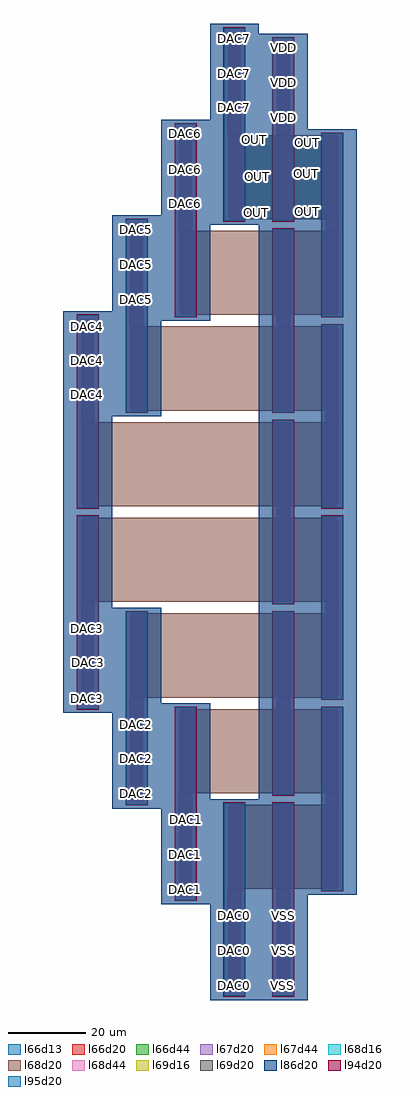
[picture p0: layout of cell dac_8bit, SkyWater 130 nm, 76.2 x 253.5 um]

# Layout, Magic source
magic
tech sky130a
<< l68d20 >>
rect 3970 2796 6760 4979
rect 2700 5281 6760 7464
rect 1430 7766 6760 9949
rect 160 10251 6760 12434
rect 160 12736 6760 14919
rect 1430 15221 6760 17404
rect 2700 17706 6760 19889
rect 3970 20191 6760 22374
rect 160 15471 410 17575
rect 5205 135 5525 2255
rect 5205 22670 5525 24790
<< l68d16 >>
rect 3970 140 4220 2244
rect 2700 2625 2950 4729
rect 1430 5110 1680 7214
rect 160 7595 410 9699
rect 160 15471 410 17575
rect 1430 17956 1680 20060
rect 2700 20441 2950 22545
rect 3970 22926 4220 25030
rect 3970 20191 6760 22374
<< l68d44 >>
rect 5290 1660 5440 1810
rect 5290 1300 5440 1450
rect 5290 940 5440 1090
rect 5290 580 5440 730
rect 5290 220 5440 370
rect 5290 24195 5440 24345
rect 5290 23835 5440 23985
rect 5290 23475 5440 23625
rect 5290 23115 5440 23265
rect 5290 22755 5440 22905
rect 5290 2021 5440 2171
rect 5290 24555 5440 24705
<< l69d20 >>
rect 5205 135 5525 2256
rect 5205 22670 5525 24790
<< l69d16 >>
rect 5205 135 5525 2256
rect 5205 22670 5525 24790
<< labels >>
rlabel l68d5 4667 20363 4667 20363 0 OUT
rlabel l68d5 4686 21303 4686 21303 0 OUT
rlabel l68d5 4617 22248 4617 22248 0 OUT
rlabel l68d5 1543 18113 1543 18113 0 DAC5
rlabel l68d5 1556 19023 1556 19023 0 DAC5
rlabel l68d5 1543 19921 1543 19921 0 DAC5
rlabel l68d5 2823 20590 2823 20590 0 DAC6
rlabel l68d5 4088 24886 4088 24886 0 DAC7
rlabel l68d5 2815 22406 2815 22406 0 DAC6
rlabel l68d5 2827 21484 2827 21484 0 DAC6
rlabel l68d5 4088 23079 4088 23079 0 DAC7
rlabel l68d5 4085 23984 4085 23984 0 DAC7
rlabel l68d5 5984 22193 5984 22193 0 OUT
rlabel l68d5 5979 21367 5979 21367 0 OUT
rlabel l68d5 5984 20400 5984 20400 0 OUT
rlabel l68d5 284 17415 284 17415 0 DAC4
rlabel l68d5 276 16522 276 16522 0 DAC4
rlabel l68d5 276 15624 276 15624 0 DAC4
rlabel l68d5 288 9569 288 9569 0 DAC3
rlabel l68d5 293 8679 293 8679 0 DAC3
rlabel l68d5 280 7753 280 7753 0 DAC3
rlabel l68d5 1561 6190 1561 6190 0 DAC2
rlabel l68d5 1547 7056 1547 7056 0 DAC2
rlabel l68d5 1561 5274 1561 5274 0 DAC2
rlabel l68d5 2824 3692 2824 3692 0 DAC1
rlabel l68d5 2841 4597 2841 4597 0 DAC1
rlabel l68d5 2830 2782 2830 2782 0 DAC1
rlabel l68d5 4107 1204 4107 1204 0 DAC0
rlabel l68d5 4092 2096 4092 2096 0 DAC0
rlabel l68d5 4092 298 4092 298 0 DAC0
rlabel l69d5 5360 24650 5360 24650 0 VDD
rlabel l69d5 5360 23746 5360 23746 0 VDD
rlabel l69d5 5360 22827 5360 22827 0 VDD
rlabel l69d5 5369 1194 5369 1194 0 VSS
rlabel l69d5 5351 289 5351 289 0 VSS
rlabel l69d5 5359 2092 5359 2092 0 VSS
use res_polyx243 res_polyx243_1
transform 1 0 285 0 1 15195
box -635 -2610 635 2610
use res_polyx243 res_polyx243_2
transform 1 0 1555 0 1 7490
box -635 -2610 635 2610
use res_polyx244 res_polyx244_1
transform 1 0 5365 0 1 12585
box -635 -2485 635 2485
use res_polyx243 res_polyx243_3
transform 1 0 1555 0 1 17680
box -635 -2610 635 2610
use res_polyx243 res_polyx243_4
transform 1 0 285 0 1 9975
box -635 -2610 635 2610
use res_polyx243 res_polyx243_5
transform 1 0 5365 0 1 2520
box -635 -2610 635 2610
use res_polyx244 res_polyx244_2
transform 1 0 5365 0 1 7615
box -635 -2485 635 2485
use res_polyx244 res_polyx244_3
transform 1 0 6635 0 1 5130
box -635 -2485 635 2485
use res_polyx244 res_polyx244_4
transform 1 0 6635 0 1 15070
box -635 -2485 635 2485
use res_polyx243 res_polyx243_6
transform 1 0 4095 0 1 22650
box -635 -2610 635 2610
use res_polyx244 res_polyx244_5
transform 1 0 6635 0 1 20040
box -635 -2485 635 2485
use res_polyx243 res_polyx243_7
transform 1 0 2825 0 1 20165
box -635 -2610 635 2610
use res_polyx244 res_polyx244_6
transform 1 0 5365 0 1 17555
box -635 -2485 635 2485
use res_polyx244 res_polyx244_7
transform 1 0 5365 0 1 22525
box -635 -2485 635 2485
use res_polyx243 res_polyx243_8
transform 1 0 4095 0 1 2520
box -635 -2610 635 2610
use res_polyx243 res_polyx243_9
transform 1 0 2825 0 1 5005
box -635 -2610 635 2610
use res_polyx244 res_polyx244_8
transform 1 0 6635 0 1 10100
box -635 -2485 635 2485
<< end >>

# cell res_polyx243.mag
magic
tech sky130a
<< l66d20 >>
rect -175 -2410 175 2410
<< l94d20 >>
rect -285 -2520 285 2520
<< l86d20 >>
rect -635 -2610 635 2610
<< l66d44 >>
rect -95 330 95 2330
rect -95 -2330 95 -330
<< l67d44 >>
rect -85 345 85 515
rect -85 705 85 875
rect -85 1065 85 1235
rect -85 1425 85 1595
rect -85 1785 85 1955
rect -85 2145 85 2315
rect -85 -2310 85 -2140
rect -85 -1950 85 -1780
rect -85 -1590 85 -1420
rect -85 -1230 85 -1060
rect -85 -870 85 -700
rect -85 -510 85 -340
<< l95d20 >>
rect -270 -2505 270 2505
<< l67d20 >>
rect -175 250 175 2410
rect -175 -2410 175 -250
<< l66d13 >>
rect -175 -310 175 310
<< l68d20 >>
rect -125 276 125 2380
rect -125 -2380 125 -276
<< end >>

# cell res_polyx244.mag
magic
tech sky130a
<< l66d20 >>
rect -175 -2285 175 2285
<< l94d20 >>
rect -285 -2395 285 2395
<< l86d20 >>
rect -635 -2485 635 2485
<< l66d44 >>
rect -95 205 95 2205
rect -95 -2205 95 -205
<< l67d44 >>
rect -85 220 85 390
rect -85 580 85 750
rect -85 940 85 1110
rect -85 1300 85 1470
rect -85 1660 85 1830
rect -85 2020 85 2190
rect -85 -2185 85 -2015
rect -85 -1825 85 -1655
rect -85 -1465 85 -1295
rect -85 -1105 85 -935
rect -85 -745 85 -575
rect -85 -385 85 -215
<< l95d20 >>
rect -270 -2380 270 2380
<< l67d20 >>
rect -175 125 175 2285
rect -175 -2285 175 -125
<< l66d13 >>
rect -175 -185 175 185
<< l68d20 >>
rect -125 151 125 2255
rect -125 -2255 125 -151
<< end >>
